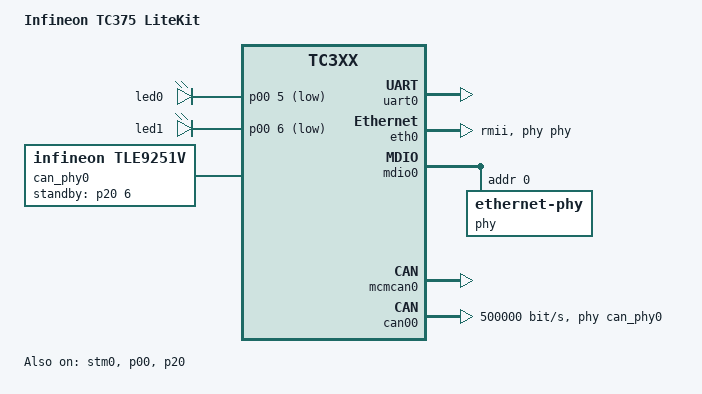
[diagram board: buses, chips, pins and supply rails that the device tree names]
/*
 * Copyright (c) 2024 Infineon Technologies AG
 *
 * SPDX-License-Identifier: Apache-2.0
 */

/dts-v1/;

#include <infineon/tc375tp.dtsi>

/ {
	model = "Infineon TC375 LiteKit";
	compatible = "infineon,kit_a2g_tc375_lite", "infineon,tc375tp",
						"infineon,tc3xx";

	chosen {
		zephyr,flash = &flash0;
		zephyr,sram = &dsram0;
		zephyr,itcm = &psram0;
		zephyr,console = &uart0;
		infineon,system-timer = &stm0;
	};

	leds {
		compatible = "gpio-leds";
		led0: led_0 {
			gpios = <&p00 5 GPIO_ACTIVE_LOW>;
		};
		led1: led_1 {
			gpios = <&p00 6 GPIO_ACTIVE_LOW>;
		};
	};

	aliases {
		led0 = &led0;
    };

	can_phy0: can-phy0 {
		compatible = "infineon,tle9251v", "can-transceiver-gpio";
		standby-gpios = <&p20 6 0>;
		max-bitrate = <5000000>;
		#phy-cells = <0>;
	};
};

&fosc {
	clock-frequency = <DT_FREQ_M(20)>;
	status = "okay";
};

&stm0 {
	status = "okay";
	freeze;
};

&p00 {
	status = "okay";
};

&p20 {
	status = "okay";
};

&uart0 {
	status = "okay";
	pinctrl-0 = <&asclin0_tx_p14_0>, <&asclin0_rx_p14_1>;
	pinctrl-names = "default";
};

&eth0 {
	status = "okay";
	pinctrl-0 = <&geth_refclk_p11_12>, <&geth_rxdv_p11_11>, <&geth_rxd0_p11_10>, 
				<&geth_rxd1_p11_9>, <&geth_txen_p11_6>, <&geth_txd0_p11_3>, 
				<&geth_txd1_p11_2>;
	pinctrl-names = "default";
	phy-connection-type = "rmii";
	phy-handle = <&phy>;
};

&mdio0 {
	status = "okay";
	
	pinctrl-0 = <&geth_mdc_p21_2>, <&geth_mdio_p21_3>;
	pinctrl-names = "default";

	phy: ethernet-phy@0 {
		compatible = "ethernet-phy";
		reg = <0>;
	};
};

&mcmcan0 {
	status = "okay";
};

&can00 {
	status = "okay";
	bus-speed = <500000>;
	bus-speed-data = <2000000>;
	pinctrl-0 = <&can00_tx_p20_8>, <&can00_rx_p20_7>;
	pinctrl-names = "default";
	phys = <&can_phy0>;
};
